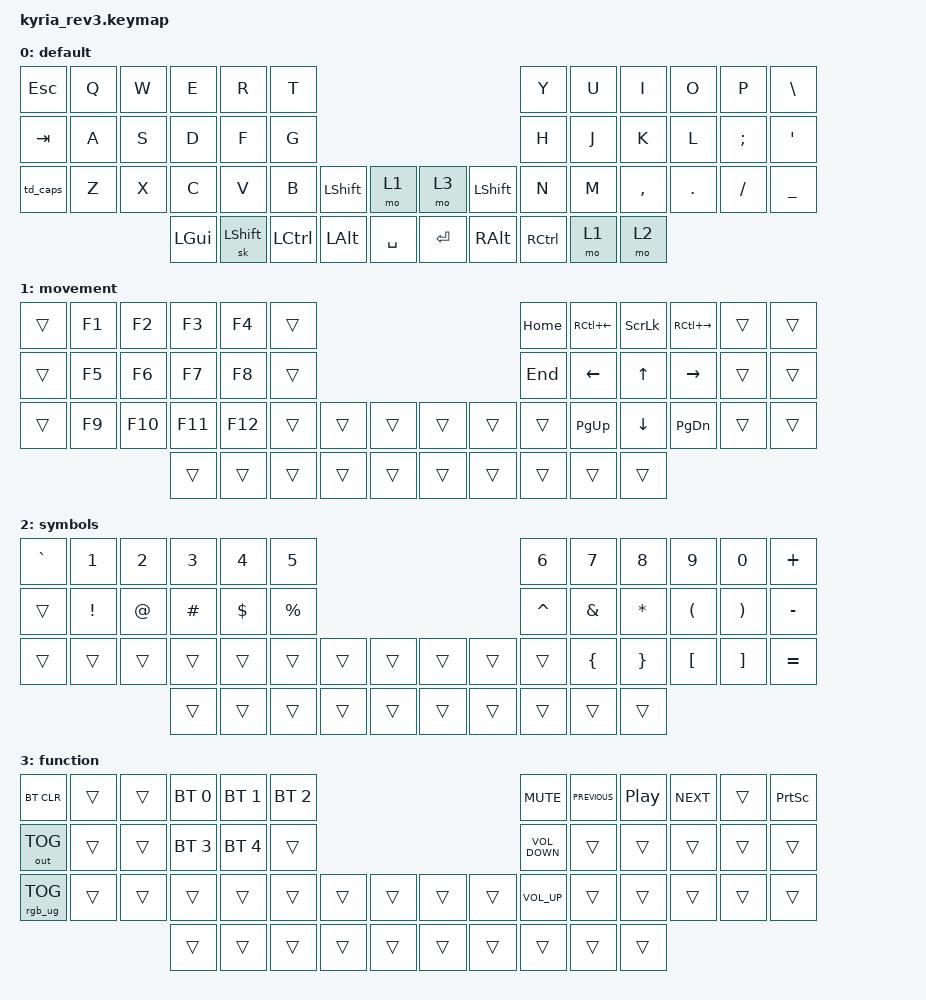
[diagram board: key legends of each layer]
/*
 * Copyright (c) 2023 The ZMK Contributors
 *
 * SPDX-License-Identifier: MIT
 */

#include <behaviors.dtsi>
#include <dt-bindings/zmk/bt.h>
#include <dt-bindings/zmk/keys.h>
#include <dt-bindings/zmk/outputs.h>
#include <dt-bindings/zmk/rgb.h>
#include <dt-bindings/zmk/pointing.h>


#include <input/processors.dtsi>

&glidepoint_listener {
        input-processors = <&zip_temp_layer 3 500>;
};


/* Uncomment this block if using RGB
&led_strip {
    chain-length = <6>;
    // chain-length = <31>; // Uncomment if using both per-key and underglow LEDs
    // chain-length = <25>; // Uncomment if using only per-key LEDs.
};
 */

/ {
    combos {
        compatible = "zmk,combos";

        backspace {
            bindings = <&kp BACKSPACE>;
            key-positions = <10 11>;
        };

        delete {
            bindings = <&kp DELETE>;
            key-positions = <0 1>;
        };

        kmenu {
            bindings = <&kp K_CONTEXT_MENU>;
            key-positions = <39 38>;
        };
    };

    behaviors {
        td_caps: td_caps {
            compatible = "zmk,behavior-tap-dance";
            label = "TD_CAPS";
            #binding-cells = <0>;
            bindings = <&kp CAPSLOCK>, <&caps_word>;
        };
    };

    keymap {
        compatible = "zmk,keymap";

        default {
            // ---------------------------------------------------------------------------------------------------------------------------------
            // |  ESC  |  Q  |  W  |  E   |  R   |  T   |                                          |  Y   |  U    |  I    |  O   |   P   |   \  |
            // |  TAB  |  A  |  S  |  D   |  F   |  G   |                                          |  H   |  J    |  K    |  L   |   ;   |   '  |
            // | SHIFT |  Z  |  X  |  C   |  V   |  B   | L SHIFT | L SHIFT |  | LAYER 1 | L SHIFT |  N   |  M    |  ,    |  .   |   /   | CTRL |
            //                     | GUI  | DEL  | RET  |  SPACE  |   ESC   |  |   RET   |  SPACE  | TAB  | BSPC  | R-ALT |

            bindings = <
&kp ESC   &kp Q  &kp W  &kp E     &kp R           &kp T                                                              &kp Y              &kp U  &kp I      &kp O    &kp P     &kp BSLH
&kp TAB   &kp A  &kp S  &kp D     &kp F           &kp G                                                              &kp H              &kp J  &kp K      &kp L    &kp SEMI  &kp SQT
&td_caps  &kp Z  &kp X  &kp C     &kp V           &kp B             &kp LSHFT  &mo 1      &mo 3       &kp LSHFT      &kp N              &kp M  &kp COMMA  &kp DOT  &kp FSLH  &kp UNDERSCORE
                        &kp LGUI  &sk LEFT_SHIFT  &kp LEFT_CONTROL  &kp LALT   &kp SPACE  &kp RETURN  &kp RIGHT_ALT  &kp RIGHT_CONTROL  &mo 1  &mo 2
            >;
        };

        movement {
            bindings = <
&trans  &kp F1  &kp F2   &kp F3   &kp F4   &trans                                  &kp HOME  &kp RC(LEFT_ARROW)  &kp SCROLLLOCK  &kp RC(RIGHT_ARROW)  &trans  &trans
&trans  &kp F5  &kp F6   &kp F7   &kp F8   &trans                                  &kp END   &kp LEFT_ARROW      &kp UP_ARROW    &kp RIGHT_ARROW      &trans  &trans
&trans  &kp F9  &kp F10  &kp F11  &kp F12  &trans  &trans  &trans  &trans  &trans  &trans    &kp PAGE_UP         &kp DOWN_ARROW  &kp PAGE_DOWN        &trans  &trans
                         &trans   &trans   &trans  &trans  &trans  &trans  &trans  &trans    &trans              &trans
            >;
        };

        symbols {
            bindings = <
&kp GRAVE  &kp N1           &kp N2       &kp N3    &kp N4      &kp N5                                       &kp N6     &kp N7          &kp N8           &kp N9                &kp N0                 &kp PLUS
&trans     &kp EXCLAMATION  &kp AT_SIGN  &kp HASH  &kp DOLLAR  &kp PERCENT                                  &kp CARET  &kp AMPERSAND   &kp STAR         &kp LEFT_PARENTHESIS  &kp RIGHT_PARENTHESIS  &kp MINUS
&trans     &trans           &trans       &trans    &trans      &trans       &trans  &trans  &trans  &trans  &trans     &kp LEFT_BRACE  &kp RIGHT_BRACE  &kp LEFT_BRACKET      &kp RIGHT_BRACKET      &kp EQUAL
                                         &trans    &trans      &trans       &trans  &trans  &trans  &trans  &trans     &trans          &trans
            >;
        };

        function {
            // ---------------------------------------------------------------------------------------------------------------------------------
            // |       |      |BT_CLR|BTSEL0|BTSEL1|BTSEL2|                                         |      |      |      |      |      |      |
            // |       |      |      |BTSEL3|BTSEL4|      |                                         |      |      |      |      |      |      |
            // |       |      |      |      |      |      |      |      |      |      |      |      |      |      |      |      |      |      |
            //                       |      |      |      |      |      |      |      |      |      |      |      |      |

            bindings = <
&bt BT_CLR       &trans  &trans  &bt BT_SEL 0  &bt BT_SEL 1  &bt BT_SEL 2                                  &kp C_MUTE         &kp C_PREVIOUS  &kp C_PLAY_PAUSE  &kp C_NEXT  &trans  &kp PRINTSCREEN
&out OUT_TOG     &trans  &trans  &bt BT_SEL 3  &bt BT_SEL 4  &trans                                        &kp C_VOLUME_DOWN  &trans          &trans            &trans      &trans  &trans
&rgb_ug RGB_TOG  &trans  &trans  &trans        &trans        &trans        &trans  &trans  &trans  &trans  &kp C_VOLUME_UP    &trans          &trans            &trans      &trans  &trans
                                 &trans        &trans        &trans        &trans  &trans  &trans  &trans  &trans             &trans          &trans
            >;
        };
    };
};
